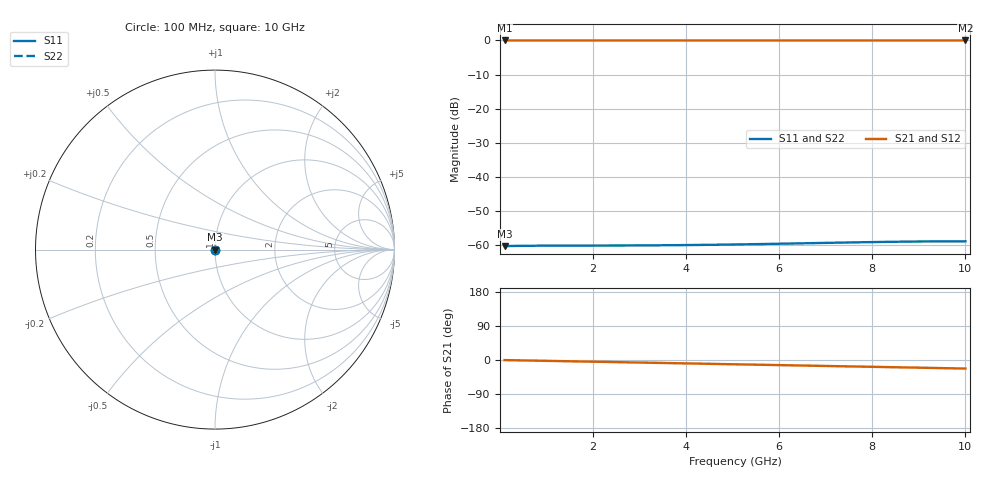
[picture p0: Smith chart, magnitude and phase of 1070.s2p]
# Hz S RI R 50.00
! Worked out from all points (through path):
!   100 points, 100 MHz to 10 GHz, reference 50 ohm
!   highest |S21| = -0.01 dB at 100 MHz (marker M1); lowest = 0.0 dB at 10 GHz (marker M2)
!   group delay of S21, straight-line fit = 6.26 ps
!   lowest |S11| = -60.3 dB at 100 MHz (marker M3), VSWR 1.00, Z = 50.1 - j0.000838 ohm
!   |S11| at or under -10 dB: start of sweep to end of sweep
!   |S22| runs from -60.3 to -58.8 dB; largest |S21 - S12| = 0
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1e8  0.000971 -8.37e-06  0.999 -0.0039  0.999 -0.0039  0.000971 -8.37e-06
2e8  0.000976 -1.68e-05  0.999 -0.0078  0.999 -0.0078  0.000976 -1.68e-05
3e8  0.000979 -2.53e-05  0.9989 -0.0117  0.9989 -0.0117  0.000979 -2.53e-05
4e8  0.00098 -3.39e-05  0.9989 -0.0156  0.9989 -0.0156  0.00098 -3.39e-05
6e8  0.000983 -5.13e-05  0.9987 -0.0234  0.9987 -0.0234  0.000983 -5.13e-05
1e9  0.000983 -8.74e-05  0.9982 -0.039  0.9982 -0.039  0.000983 -8.74e-05
1.8e9  0.000977 -0.000165  0.9965 -0.0702  0.9965 -0.0702  0.000977 -0.000165
2.7e9  0.00096 -0.000261  0.9934 -0.1053  0.9934 -0.1053  0.00096 -0.000261
3.4e9  0.00094 -0.000341  0.9901 -0.1325  0.9901 -0.1325  0.00094 -0.000341
3.8e9  0.000927 -0.000388  0.9879 -0.148  0.9879 -0.148  0.000927 -0.000388
4.2e9  0.000912 -0.000436  0.9854 -0.1635  0.9854 -0.1635  0.000912 -0.000436
4.6e9  0.000896 -0.000485  0.9827 -0.179  0.9827 -0.179  0.000896 -0.000485
5.1e9  0.000873 -0.000546  0.979 -0.1983  0.979 -0.1983  0.000873 -0.000546
5.8e9  0.000838 -0.00063  0.9731 -0.2252  0.9731 -0.2252  0.000838 -0.00063
6.7e9  0.000787 -0.000733  0.9645 -0.2596  0.9645 -0.2596  0.000787 -0.000733
7.7e9  0.000725 -0.000835  0.9534 -0.2975  0.9534 -0.2975  0.000725 -0.000835
8.1e9  0.0007 -0.000871  0.9486 -0.3125  0.9486 -0.3125  0.0007 -0.000871
8.4e9  0.000681 -0.000895  0.9448 -0.3238  0.9448 -0.3238  0.000681 -0.000895
8.8e9  0.000656 -0.000924  0.9395 -0.3387  0.9395 -0.3387  0.000656 -0.000924
9.2e9  0.000631 -0.000949  0.934 -0.3536  0.934 -0.3536  0.000631 -0.000949
9.6e9  0.000608 -0.000969  0.9283 -0.3684  0.9283 -0.3684  0.000608 -0.000969
1e10  0.000586 -0.000983  0.9223 -0.3831  0.9223 -0.3831  0.000586 -0.000983
